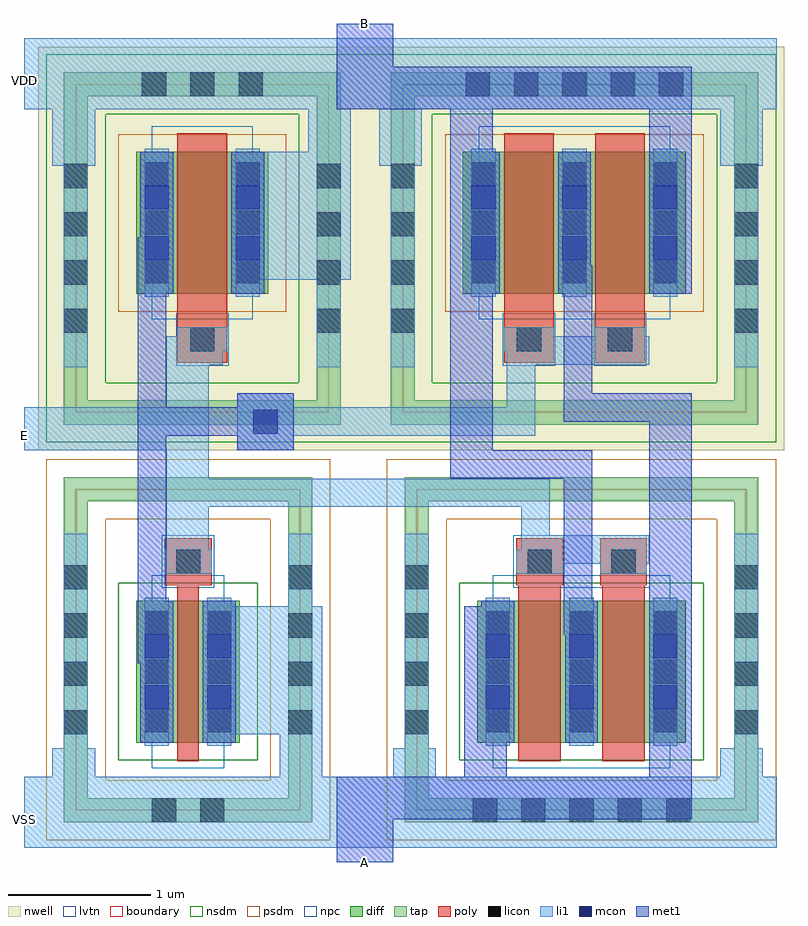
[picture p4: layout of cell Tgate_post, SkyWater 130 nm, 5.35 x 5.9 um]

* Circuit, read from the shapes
.subckt Tgate_post A B E VDD VSS
XM1 VSS E n1 VSS sky130_fd_pr__nfet_01v8_lvt w=1 l=0.15
XM2 B E A VSS sky130_fd_pr__nfet_01v8_lvt w=1 l=0.3 m=2
XM3 VDD E n1 VDD sky130_fd_pr__pfet_01v8_lvt w=1 l=0.35
XM4 A n1 B VDD sky130_fd_pr__pfet_01v8_lvt w=1 l=0.35 m=2
.ends

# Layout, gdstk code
import gdstk
lib = gdstk.Library(unit=1e-6, precision=1e-09)
def R(c, l, rs):  # rectangles x0, y0, x1, y1
    for r in rs: c.add(gdstk.rectangle(r[:2], r[2:], *l))
def A(c, l, x, y, w, h, nx, ny, dx, dy):  # array of equal rectangles
    R(c, l, [(x+i*dx, y+j*dy, x+i*dx+w, y+j*dy+h) for i in range(nx) for j in range(ny)])
nwell = (64, 20)
diff = (65, 20)
tap = (65, 44)
poly = (66, 20)
licon = (66, 44)
li1 = (67, 20)
mcon = (67, 44)
met1 = (68, 20)
nsdm = (93, 44)
psdm = (94, 20)
npc = (95, 20)
lvtn = (125, 44)
boundary = (235, 4)

sky130_fd_pr__nfet_01v8_ = lib.new_cell('sky130_fd_pr__nfet_01v8_lvt_THKQM4')
R(sky130_fd_pr__nfet_01v8_, diff, [(-0.365,-0.655,0.365,0.345)])
R(sky130_fd_pr__nfet_01v8_, tap, [(-0.875,-1.215,0.875,-1.045), (-0.875,-1.045,-0.705,1.045), (0.705,-1.045,0.875,1.045), (-0.875,1.045,0.875,1.215)])
R(sky130_fd_pr__nfet_01v8_, poly, [(-0.075,-0.785,0.075,0.455), (-0.165,0.455,0.165,0.785)])
A(sky130_fd_pr__nfet_01v8_, licon, -0.875, -0.595, 0.17, 0.17, 1, 4, 0, 0.34)
A(sky130_fd_pr__nfet_01v8_, licon, 0.705, -0.595, 0.17, 0.17, 1, 4, 0, 0.34)
A(sky130_fd_pr__nfet_01v8_, licon, -0.305, -0.58, 0.17, 0.17, 1, 3, 0, 0.34)
A(sky130_fd_pr__nfet_01v8_, licon, 0.135, -0.58, 0.17, 0.17, 1, 3, 0, 0.34)
R(sky130_fd_pr__nfet_01v8_, licon, [(-0.255,-1.215,-0.085,-1.045), (0.085,-1.215,0.255,-1.045), (-0.085,0.535,0.085,0.705)])
R(sky130_fd_pr__nfet_01v8_, li1, [(-0.475,-1.215,0.475,-1.045), (-0.875,-0.815,-0.705,0.815), (0.705,-0.815,0.875,0.815), (-0.305,-0.675,-0.135,0.365), (0.135,-0.675,0.305,0.365), (-0.165,0.535,0.165,0.705)])
R(sky130_fd_pr__nfet_01v8_, mcon, [(-0.305,-0.42,-0.135,-0.25), (0.135,-0.42,0.305,-0.25), (-0.305,-0.06,-0.135,0.11), (0.135,-0.06,0.305,0.11)])
R(sky130_fd_pr__nfet_01v8_, met1, [(-0.335,-0.655,-0.105,0.345), (0.105,-0.655,0.335,0.345)])
R(sky130_fd_pr__nfet_01v8_, nsdm, [(-0.49,-0.78,0.49,0.47)])
R(sky130_fd_pr__nfet_01v8_, psdm, [(-1,-1.34,1,-0.92), (-1,-0.92,-0.58,0.92), (0.58,-0.92,1,0.92), (-1,0.92,1,1.34)])
R(sky130_fd_pr__nfet_01v8_, npc, [(-0.185,0.435,0.185,0.805)])
R(sky130_fd_pr__nfet_01v8_, lvtn, [(-0.255,-0.835,0.255,0.525)])
R(sky130_fd_pr__nfet_01v8_, boundary, [(-0.79,-1.13,0.79,1.13)])

sky130_fd_pr__pfet_01v8_ = lib.new_cell('sky130_fd_pr__pfet_01v8_lvt_2JG5DZ')
R(sky130_fd_pr__pfet_01v8_, nwell, [(-1.475,-1.42,1.475,1.42)])
R(sky130_fd_pr__pfet_01v8_, diff, [(-0.785,-0.32,0.785,0.68)])
R(sky130_fd_pr__pfet_01v8_, tap, [(-1.295,-1.24,1.295,-1.07), (-1.295,-1.07,-1.125,1.07), (1.125,-1.07,1.295,1.07), (-1.295,1.07,1.295,1.24)])
R(sky130_fd_pr__pfet_01v8_, poly, [(-0.495,-0.805,-0.145,0.81), (0.145,-0.805,0.495,0.81)])
A(sky130_fd_pr__pfet_01v8_, licon, -1.295, -0.595, 0.17, 0.17, 1, 4, 0, 0.34)
A(sky130_fd_pr__pfet_01v8_, licon, 1.125, -0.595, 0.17, 0.17, 1, 4, 0, 0.34)
A(sky130_fd_pr__pfet_01v8_, licon, -0.725, -0.245, 0.17, 0.17, 3, 3, 0.64, 0.34)
A(sky130_fd_pr__pfet_01v8_, licon, -0.765, 1.07, 0.17, 0.17, 5, 1, 0.34, 0)
R(sky130_fd_pr__pfet_01v8_, licon, [(-0.405,-0.725,-0.235,-0.555), (0.235,-0.725,0.405,-0.555)])
A(sky130_fd_pr__pfet_01v8_, li1, -0.725, -0.34, 0.17, 1.04, 3, 1, 0.64, 0)
R(sky130_fd_pr__pfet_01v8_, li1, [(-1.295,-0.835,-1.125,0.835), (1.125,-0.835,1.295,0.835), (-0.495,-0.725,-0.145,-0.555), (0.145,-0.725,0.495,-0.555), (-0.895,1.07,0.895,1.24)])
A(sky130_fd_pr__pfet_01v8_, mcon, -0.725, -0.085, 0.17, 0.17, 3, 2, 0.64, 0.36)
A(sky130_fd_pr__pfet_01v8_, met1, -0.755, -0.32, 0.23, 1, 3, 1, 0.64, 0)
R(sky130_fd_pr__pfet_01v8_, nsdm, [(-1.42,-1.365,1.42,-0.945), (-1.42,-0.945,-1,0.945), (1,-0.945,1.42,0.945), (-1.42,0.945,1.42,1.365)])
R(sky130_fd_pr__pfet_01v8_, psdm, [(-0.91,-0.445,0.91,0.805)])
R(sky130_fd_pr__pfet_01v8_, npc, [(-0.505,-0.825,-0.135,-0.455), (0.135,-0.825,0.505,-0.455)])
R(sky130_fd_pr__pfet_01v8_, lvtn, [(-0.675,-0.5,0.675,0.86)])
R(sky130_fd_pr__pfet_01v8_, boundary, [(-1.21,-1.155,1.21,1.155)])

c_sky130_fd_pr__nfet_01v8_ = lib.new_cell('sky130_fd_pr__nfet_01v8_lvt_Z92SJ3')
R(c_sky130_fd_pr__nfet_01v8_, diff, [(-0.735,-0.655,0.735,0.345)])
R(c_sky130_fd_pr__nfet_01v8_, tap, [(-1.245,-1.215,1.245,-1.045), (-1.245,-1.045,-1.075,1.045), (1.075,-1.045,1.245,1.045), (-1.245,1.045,1.245,1.215)])
R(c_sky130_fd_pr__nfet_01v8_, poly, [(-0.445,-0.785,-0.145,0.455), (0.145,-0.785,0.445,0.455), (-0.46,0.455,-0.13,0.785), (0.13,0.455,0.46,0.785)])
A(c_sky130_fd_pr__nfet_01v8_, licon, -0.765, -1.215, 0.17, 0.17, 5, 1, 0.34, 0)
A(c_sky130_fd_pr__nfet_01v8_, licon, -1.245, -0.595, 0.17, 0.17, 1, 4, 0, 0.34)
A(c_sky130_fd_pr__nfet_01v8_, licon, 1.075, -0.595, 0.17, 0.17, 1, 4, 0, 0.34)
A(c_sky130_fd_pr__nfet_01v8_, licon, -0.675, -0.58, 0.17, 0.17, 3, 3, 0.59, 0.34)
R(c_sky130_fd_pr__nfet_01v8_, licon, [(-0.38,0.535,-0.21,0.705), (0.21,0.535,0.38,0.705)])
A(c_sky130_fd_pr__nfet_01v8_, li1, -0.675, -0.675, 0.17, 1.04, 3, 1, 0.59, 0)
R(c_sky130_fd_pr__nfet_01v8_, li1, [(-0.845,-1.215,0.845,-1.045), (-1.245,-0.815,-1.075,0.815), (1.075,-0.815,1.245,0.815), (-0.46,0.535,-0.13,0.705), (0.13,0.535,0.46,0.705)])
A(c_sky130_fd_pr__nfet_01v8_, mcon, -0.675, -0.42, 0.17, 0.17, 3, 2, 0.59, 0.36)
A(c_sky130_fd_pr__nfet_01v8_, met1, -0.705, -0.655, 0.23, 1, 3, 1, 0.59, 0)
R(c_sky130_fd_pr__nfet_01v8_, nsdm, [(-0.86,-0.78,0.86,0.47)])
R(c_sky130_fd_pr__nfet_01v8_, psdm, [(-1.37,-1.34,1.37,-0.92), (-1.37,-0.92,-0.95,0.92), (0.95,-0.92,1.37,0.92), (-1.37,0.92,1.37,1.34)])
R(c_sky130_fd_pr__nfet_01v8_, npc, [(-0.48,0.435,0.48,0.805)])
R(c_sky130_fd_pr__nfet_01v8_, lvtn, [(-0.625,-0.835,0.625,0.525)])
R(c_sky130_fd_pr__nfet_01v8_, boundary, [(-1.16,-1.13,1.16,1.13)])

c_sky130_fd_pr__pfet_01v8_ = lib.new_cell('sky130_fd_pr__pfet_01v8_lvt_JMGADZ')
R(c_sky130_fd_pr__pfet_01v8_, nwell, [(-1.155,-1.42,1.155,1.42)])
R(c_sky130_fd_pr__pfet_01v8_, diff, [(-0.465,-0.32,0.465,0.68)])
R(c_sky130_fd_pr__pfet_01v8_, tap, [(-0.975,-1.24,0.975,-1.07), (-0.975,-1.07,-0.805,1.07), (0.805,-1.07,0.975,1.07), (-0.975,1.07,0.975,1.24)])
R(c_sky130_fd_pr__pfet_01v8_, poly, [(-0.175,-0.805,0.175,0.81)])
A(c_sky130_fd_pr__pfet_01v8_, licon, -0.975, -0.595, 0.17, 0.17, 1, 4, 0, 0.34)
A(c_sky130_fd_pr__pfet_01v8_, licon, 0.805, -0.595, 0.17, 0.17, 1, 4, 0, 0.34)
A(c_sky130_fd_pr__pfet_01v8_, licon, -0.405, -0.245, 0.17, 0.17, 1, 3, 0, 0.34)
A(c_sky130_fd_pr__pfet_01v8_, licon, 0.235, -0.245, 0.17, 0.17, 1, 3, 0, 0.34)
A(c_sky130_fd_pr__pfet_01v8_, licon, -0.425, 1.07, 0.17, 0.17, 3, 1, 0.34, 0)
R(c_sky130_fd_pr__pfet_01v8_, licon, [(-0.085,-0.725,0.085,-0.555)])
R(c_sky130_fd_pr__pfet_01v8_, li1, [(-0.975,-0.835,-0.805,0.835), (0.805,-0.835,0.975,0.835), (-0.175,-0.725,0.175,-0.555), (-0.405,-0.34,-0.235,0.7), (0.235,-0.34,0.405,0.7), (-0.575,1.07,0.575,1.24)])
R(c_sky130_fd_pr__pfet_01v8_, mcon, [(-0.405,-0.085,-0.235,0.085), (0.235,-0.085,0.405,0.085), (-0.405,0.275,-0.235,0.445), (0.235,0.275,0.405,0.445)])
R(c_sky130_fd_pr__pfet_01v8_, met1, [(-0.435,-0.32,-0.205,0.68), (0.205,-0.32,0.435,0.68)])
R(c_sky130_fd_pr__pfet_01v8_, nsdm, [(-1.1,-1.365,1.1,-0.945), (-1.1,-0.945,-0.68,0.945), (0.68,-0.945,1.1,0.945), (-1.1,0.945,1.1,1.365)])
R(c_sky130_fd_pr__pfet_01v8_, psdm, [(-0.59,-0.445,0.59,0.805)])
R(c_sky130_fd_pr__pfet_01v8_, npc, [(-0.185,-0.825,0.185,-0.455)])
R(c_sky130_fd_pr__pfet_01v8_, lvtn, [(-0.355,-0.5,0.355,0.86)])
R(c_sky130_fd_pr__pfet_01v8_, boundary, [(-0.89,-1.155,0.89,1.155)])

tgate_post = lib.new_cell('Tgate_post')
R(tgate_post, li1, [(-5.4,2.2,-0.1,2.7), (-5.2,2.7,-4.9,2.9), (-3.6,2.7,-3.3,3), (-2.8,2.7,-2.5,2.9), (-0.5,2.7,-0.2,2.9), (-4,3,-3.3,3.9), (-4.4,4.2,-4.1,4.6), (-1.9,4.2,-1,4.4), (-1.9,4.4,-1.7,4.6), (-4.4,4.6,-1.7,4.8), (-4.4,4.8,-4.1,5), (-5.4,5,-4.1,5.3), (-3.9,5,-3.5,5.1), (-3.9,5.1,-1.8,5.3), (-4.4,5.3,-4.1,5.6), (-3.9,5.3,-3.5,5.4), (-2,5.3,-1.8,5.6), (-4.4,5.6,-4,5.8), (-2,5.6,-1,5.8), (-3.8,6.2,-3.1,7.1), (-5.2,7,-4.9,7.4), (-2.9,7,-2.6,7.4), (-0.5,7,-0.2,7.4), (-3.4,7.1,-3.1,7.4), (-5.4,7.4,-0.1,7.9)])
R(tgate_post, mcon, [(-3.785,5.115,-3.615,5.285)])
R(tgate_post, met1, [(-3.2,2.1,-2.8,2.4), (-3.2,2.4,-0.7,2.7), (-2.3,2.7,-2,3.9), (-1,2.7,-0.7,5.2), (-4.6,3.5,-4.4,5.1), (-1.6,3.7,-1.4,4.8), (-2.4,4.8,-1.4,5), (-3.9,5,-3.5,5.1), (-2.4,5,-2.1,7.4), (-4.6,5.1,-3.5,5.3), (-1.6,5.2,-0.7,5.4), (-4.6,5.3,-4.4,6.5), (-3.9,5.3,-3.5,5.4), (-1.6,5.4,-1.4,6.3), (-1,6.1,-0.7,7.4), (-3.2,7.4,-0.7,7.7), (-3.2,7.7,-2.8,8)])
R(tgate_post, nsdm, [(-3.045,5.055,-2.945,7.785)])
tgate_post.add(gdstk.Reference(sky130_fd_pr__nfet_01v8_, (-4.245,3.595)))
tgate_post.add(gdstk.Reference(sky130_fd_pr__pfet_01v8_, (-1.525,6.42)))
tgate_post.add(gdstk.Reference(c_sky130_fd_pr__nfet_01v8_, (-1.475,3.595)))
tgate_post.add(gdstk.Reference(c_sky130_fd_pr__pfet_01v8_, (-4.145,6.42)))
tgate_post.add(gdstk.Label('VSS', (-5.4,2.4), layer=67, texttype=16))
tgate_post.add(gdstk.Label('VDD', (-5.4,7.6), layer=67, texttype=16))
tgate_post.add(gdstk.Label('E', (-5.4,5.1), layer=67, texttype=16))
tgate_post.add(gdstk.Label('A', (-3,2.1), layer=68, texttype=16))
tgate_post.add(gdstk.Label('B', (-3,8), layer=68, texttype=16))

lib.write_gds('Tgate_post.gds')
